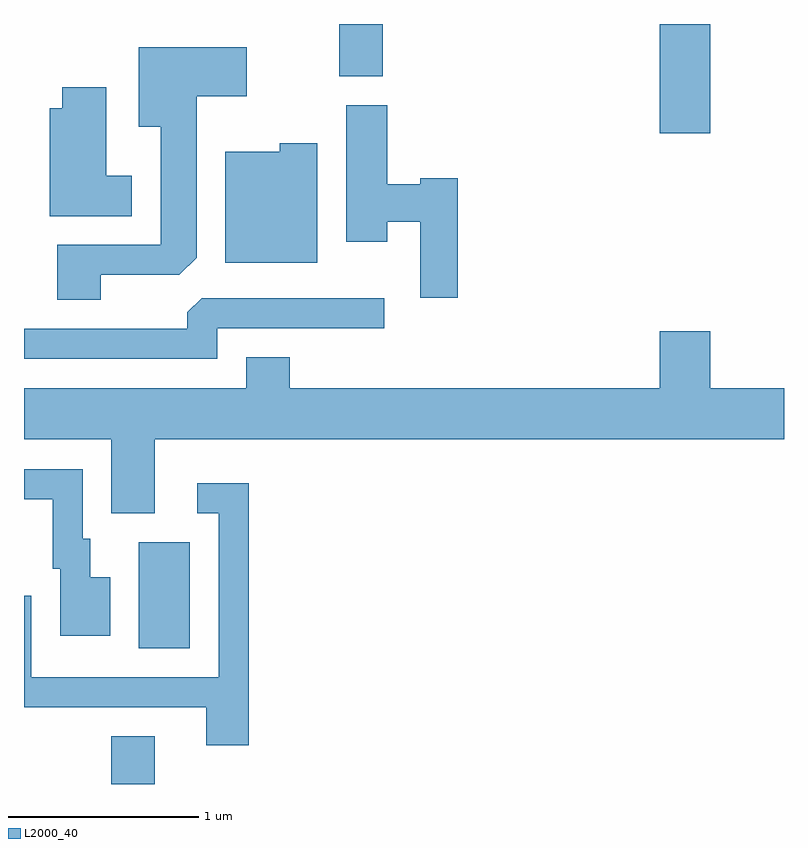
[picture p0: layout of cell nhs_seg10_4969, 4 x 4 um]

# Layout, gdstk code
import gdstk
lib = gdstk.Library(unit=1e-6, precision=1e-09)
def R(c, l, rs):  # rectangles x0, y0, x1, y1
    for r in rs: c.add(gdstk.rectangle(r[:2], r[2:], *l))
def P(c, l, *ps):  # polygons
    for p in ps: c.add(gdstk.Polygon(p, *l))
L2000_40 = (2000, 40)

nhs_seg10_4969 = lib.new_cell('nhs_seg10_4969')
R(nhs_seg10_4969, L2000_40, [(332.071,2136.522,332.299,2136.774), (332.216,2137.236,332.484,2137.794), (334.956,2139.946,335.224,2140.522), (333.271,2140.246,333.499,2140.522)])
P(nhs_seg10_4969, L2000_40, [(332.014,2139.201),(332.429,2139.201),(332.519,2139.292),(332.519,2140.141),(332.784,2140.141),(332.784,2140.399),(332.216,2140.399),(332.216,2139.981),(332.331,2139.981),(332.331,2139.359),(331.786,2139.359),(331.786,2139.071),(332.014,2139.071)],
  [(332.179,2139.724),(332.044,2139.724),(332.044,2140.189),(331.811,2140.189),(331.811,2140.079),(331.746,2140.079),(331.746,2139.511),(332.179,2139.511)],
  [(333.894,2139.709),(333.696,2139.709),(333.696,2139.679),(333.524,2139.679),(333.524,2140.094),(333.306,2140.094),(333.306,2139.376),(333.524,2139.376),(333.524,2139.481),(333.696,2139.481),(333.696,2139.081),(333.894,2139.081)],
  [(333.154,2139.894),(332.956,2139.894),(332.956,2139.849),(332.671,2139.849),(332.671,2139.266),(333.154,2139.266)],
  [(332.629,2138.921),(333.508,2138.921),(333.508,2139.079),(332.547,2139.079),(332.471,2139.004),(332.471,2138.919),(331.611,2138.919),(331.611,2138.761),(332.629,2138.761)],
  [(332.299,2138.336),(335.611,2138.336),(335.611,2138.604),(335.224,2138.604),(335.224,2138.904),(334.956,2138.904),(334.956,2138.604),(333.009,2138.604),(333.009,2138.769),(332.781,2138.769),(332.781,2138.604),(331.611,2138.604),(331.611,2138.336),(332.071,2138.336),(332.071,2137.946),(332.299,2137.946)],
  [(332.064,2137.609),(331.959,2137.609),(331.959,2137.814),(331.919,2137.814),(331.919,2138.179),(331.611,2138.179),(331.611,2138.021),(331.761,2138.021),(331.761,2137.656),(331.801,2137.656),(331.801,2137.301),(332.064,2137.301)],
  [(332.794,2138.104),(332.523,2138.104),(332.523,2137.946),(332.636,2137.946),(332.636,2137.084),(331.649,2137.084),(331.649,2137.513),(331.611,2137.513),(331.611,2136.926),(332.571,2136.926),(332.571,2136.726),(332.794,2136.726)])

lib.write_gds('nhs_seg10_4969.gds')
